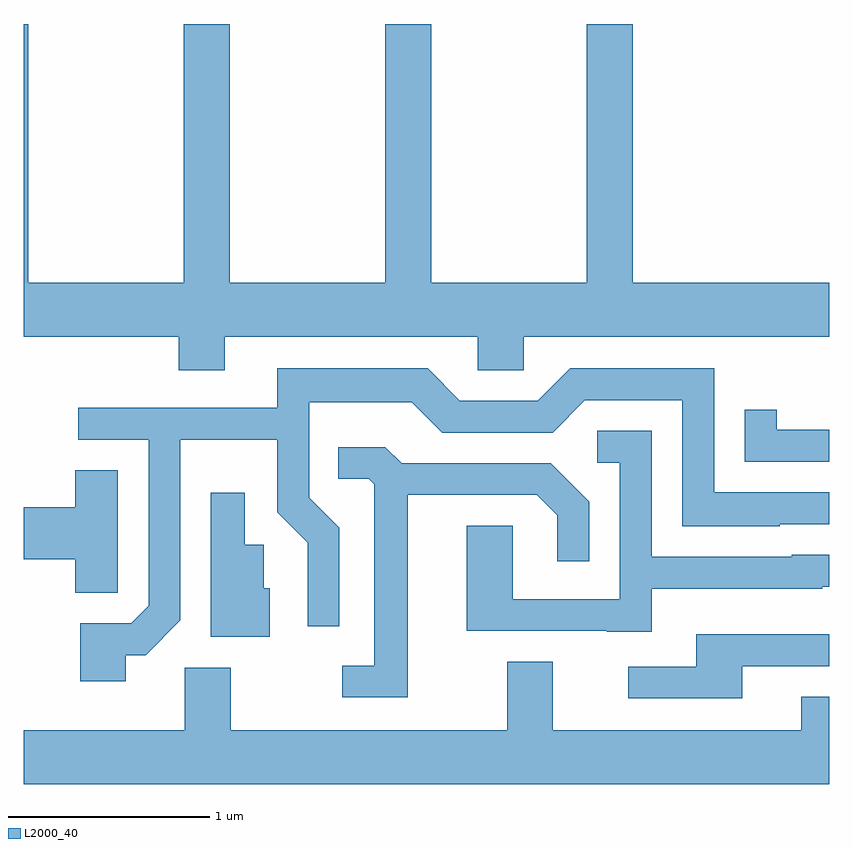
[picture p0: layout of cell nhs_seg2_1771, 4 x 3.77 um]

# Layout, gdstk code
import gdstk
lib = gdstk.Library(unit=1e-6, precision=1e-09)
def P(c, l, *ps):  # polygons
    for p in ps: c.add(gdstk.Polygon(p, *l))
L2000_40 = (2000, 40)

nhs_seg2_1771 = lib.new_cell('nhs_seg2_1771')
P(nhs_seg2_1771, L2000_40, [(238.609,986.156),(239.866,986.156),(239.866,985.991),(240.094,985.991),(240.094,986.156),(241.611,986.156),(241.611,986.424),(240.634,986.424),(240.634,987.709),(240.406,987.709),(240.406,986.424),(239.634,986.424),(239.634,987.709),(239.406,987.709),(239.406,986.424),(238.634,986.424),(238.634,987.709),(238.406,987.709),(238.406,986.424),(237.634,986.424),(237.634,987.709),(237.611,987.709),(237.611,986.156),(238.381,986.156),(238.381,985.991),(238.609,985.991)],
  [(238.119,984.576),(238.217,984.576),(238.389,984.749),(238.389,985.646),(238.871,985.646),(238.871,985.284),(239.021,985.134),(239.021,984.718),(239.179,984.718),(239.179,985.207),(239.029,985.357),(239.029,985.831),(239.539,985.831),(239.689,985.681),(240.237,985.681),(240.397,985.841),(240.881,985.841),(240.881,985.216),(241.365,985.216),(241.365,985.226),(241.611,985.226),(241.611,985.384),(241.039,985.384),(241.039,985.999),(240.324,985.999),(240.164,985.839),(239.777,985.839),(239.617,985.999),(238.871,985.999),(238.871,985.804),(237.883,985.804),(237.883,985.646),(238.231,985.646),(238.231,984.822),(238.144,984.734),(237.891,984.734),(237.891,984.446),(238.119,984.446)],
  [(241.611,985.694),(241.349,985.694),(241.349,985.793),(241.191,985.793),(241.191,985.536),(241.611,985.536)],
  [(240.729,984.906),(241.575,984.906),(241.575,984.916),(241.611,984.916),(241.611,985.074),(241.425,985.074),(241.425,985.064),(240.729,985.064),(240.729,985.689),(240.458,985.689),(240.458,985.531),(240.571,985.531),(240.571,984.854),(240.039,984.854),(240.039,985.219),(239.811,985.219),(239.811,984.696),(240.505,984.696),(240.505,984.691),(240.729,984.691)],
  [(239.519,985.371),(240.159,985.371),(240.261,985.269),(240.261,985.043),(240.419,985.043),(240.419,985.337),(240.227,985.529),(239.487,985.529),(239.407,985.609),(239.173,985.609),(239.173,985.451),(239.324,985.451),(239.351,985.424),(239.351,984.524),(239.193,984.524),(239.193,984.366),(239.519,984.366)],
  [(238.079,985.494),(237.866,985.494),(237.866,985.309),(237.611,985.309),(237.611,985.051),(237.866,985.051),(237.866,984.886),(238.079,984.886)],
  [(238.834,984.909),(238.804,984.909),(238.804,985.124),(238.709,985.124),(238.709,985.383),(238.541,985.383),(238.541,984.666),(238.834,984.666)],
  [(241.179,984.521),(241.611,984.521),(241.611,984.679),(240.951,984.679),(240.951,984.519),(240.613,984.519),(240.613,984.361),(241.179,984.361)],
  [(241.611,984.369),(241.471,984.369),(241.471,984.204),(240.239,984.204),(240.239,984.544),(240.011,984.544),(240.011,984.204),(238.639,984.204),(238.639,984.514),(238.411,984.514),(238.411,984.204),(237.611,984.204),(237.611,983.936),(241.611,983.936)])

lib.write_gds('nhs_seg2_1771.gds')
